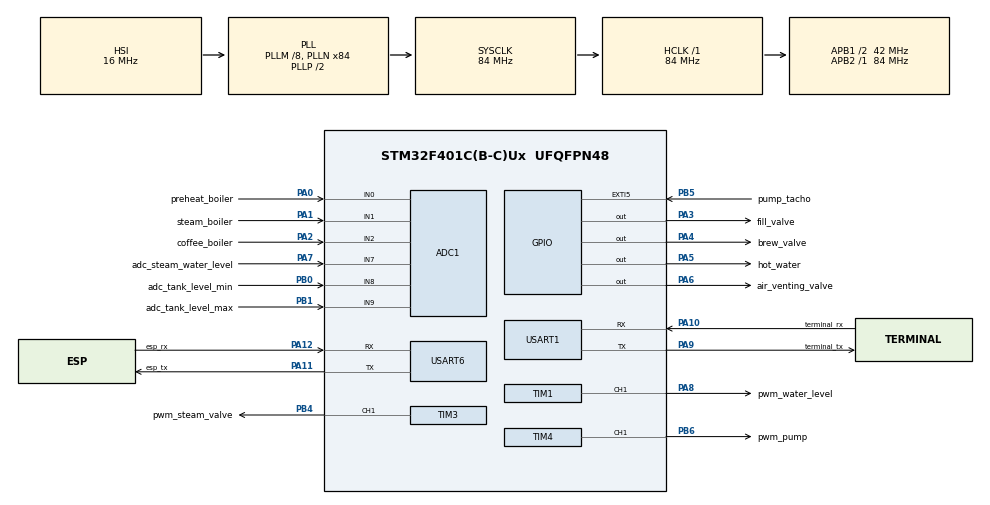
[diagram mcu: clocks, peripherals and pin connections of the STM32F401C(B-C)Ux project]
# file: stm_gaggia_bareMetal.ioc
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ADC1.Channel-0\#ChannelRegularConversion=ADC_CHANNEL_0
ADC1.Channel-1\#ChannelRegularConversion=ADC_CHANNEL_1
ADC1.Channel-2\#ChannelRegularConversion=ADC_CHANNEL_2
ADC1.Channel-3\#ChannelRegularConversion=ADC_CHANNEL_7
ADC1.Channel-4\#ChannelRegularConversion=ADC_CHANNEL_8
ADC1.Channel-5\#ChannelRegularConversion=ADC_CHANNEL_9
ADC1.ContinuousConvMode=ENABLE
ADC1.DMAContinuousRequests=ENABLE
ADC1.DiscontinuousConvMode=DISABLE
ADC1.ExternalTrigConv=ADC_SOFTWARE_START
ADC1.NbrOfConversion=6
ADC1.NbrOfConversionFlag=1
ADC1.Rank-0\#ChannelRegularConversion=1
ADC1.Rank-1\#ChannelRegularConversion=2
ADC1.Rank-2\#ChannelRegularConversion=3
ADC1.Rank-3\#ChannelRegularConversion=4
ADC1.Rank-4\#ChannelRegularConversion=5
ADC1.Rank-5\#ChannelRegularConversion=6
ADC1.SamplingTime-0\#ChannelRegularConversion=ADC_SAMPLETIME_480CYCLES
ADC1.SamplingTime-1\#ChannelRegularConversion=ADC_SAMPLETIME_480CYCLES
ADC1.SamplingTime-2\#ChannelRegularConversion=ADC_SAMPLETIME_3CYCLES
ADC1.SamplingTime-3\#ChannelRegularConversion=ADC_SAMPLETIME_480CYCLES
ADC1.SamplingTime-4\#ChannelRegularConversion=ADC_SAMPLETIME_480CYCLES
ADC1.SamplingTime-5\#ChannelRegularConversion=ADC_SAMPLETIME_480CYCLES
ADC1.ScanConvMode=ENABLE
ADC1.master=1
Dma.ADC1.0.Direction=DMA_PERIPH_TO_MEMORY
Dma.ADC1.0.FIFOMode=DMA_FIFOMODE_DISABLE
Dma.ADC1.0.Instance=DMA2_Stream0
Dma.ADC1.0.MemDataAlignment=DMA_MDATAALIGN_HALFWORD
Dma.ADC1.0.MemInc=DMA_MINC_ENABLE
Dma.ADC1.0.Mode=DMA_CIRCULAR
Dma.ADC1.0.PeriphDataAlignment=DMA_PDATAALIGN_HALFWORD
Dma.ADC1.0.PeriphInc=DMA_PINC_DISABLE
Dma.ADC1.0.Priority=DMA_PRIORITY_LOW
Dma.Request0=ADC1
Dma.Request1=USART6_TX
Dma.USART6_TX.1.Direction=DMA_MEMORY_TO_PERIPH
Dma.USART6_TX.1.FIFOMode=DMA_FIFOMODE_DISABLE
Dma.USART6_TX.1.Instance=DMA2_Stream6
Dma.USART6_TX.1.MemDataAlignment=DMA_MDATAALIGN_BYTE
Dma.USART6_TX.1.MemInc=DMA_MINC_ENABLE
Dma.USART6_TX.1.Mode=DMA_NORMAL
Dma.USART6_TX.1.PeriphDataAlignment=DMA_PDATAALIGN_BYTE
Dma.USART6_TX.1.PeriphInc=DMA_PINC_DISABLE
Dma.USART6_TX.1.Priority=DMA_PRIORITY_LOW
Mcu.Family=STM32F4
Mcu.Name=STM32F401C(B-C)Ux
Mcu.Package=UFQFPN48
NVIC.DMA2_Stream0_IRQn=true\:0\:0\:false\:false\:true\:false\:true\:true
NVIC.DMA2_Stream6_IRQn=true\:0\:0\:false\:false\:true\:false\:true\:true
NVIC.EXTI9_5_IRQn=true\:0\:0\:false\:false\:true\:true\:true\:true
NVIC.PriorityGroup=NVIC_PRIORITYGROUP_4
NVIC.USART6_IRQn=true\:0\:0\:false\:false\:true\:true\:true\:true
PA0-WKUP.GPIO_Label=preheat_boiler
PA0-WKUP.Signal=ADCx_IN0
PA1.GPIO_Label=steam_boiler
PA1.Signal=ADCx_IN1
PA10.GPIO_Label=terminal_rx
PA10.Mode=Asynchronous
PA10.Signal=USART1_RX
PA11.GPIO_Label=esp_tx
PA11.Mode=Asynchronous
PA11.Signal=USART6_TX
PA12.GPIO_Label=esp_rx
PA12.Mode=Asynchronous
PA12.Signal=USART6_RX
PA2.GPIO_Label=coffee_boiler
PA2.Signal=ADCx_IN2
PA3.GPIO_Label=fill_valve
PA3.GPIO_Speed=GPIO_SPEED_FREQ_LOW
PA3.PinState=GPIO_PIN_RESET
PA3.Signal=GPIO_Output
PA4.GPIO_Label=brew_valve
PA4.GPIO_Speed=GPIO_SPEED_FREQ_LOW
PA4.PinState=GPIO_PIN_RESET
PA4.Signal=GPIO_Output
PA5.GPIO_Label=hot_water
PA5.GPIO_Speed=GPIO_SPEED_FREQ_LOW
PA5.PinState=GPIO_PIN_RESET
PA5.Signal=GPIO_Output
PA6.GPIO_Label=air_venting_valve
PA6.Signal=GPIO_Output
PA7.GPIO_Label=adc_steam_water_level
PA7.Signal=ADCx_IN7
PA8.GPIO_Label=pwm_water_level
PA8.Signal=S_TIM1_CH1
PA9.GPIO_Label=terminal_tx
PA9.Mode=Asynchronous
PA9.Signal=USART1_TX
PB0.GPIO_Label=adc_tank_level_min
PB0.Signal=ADCx_IN8
PB1.GPIO_Label=adc_tank_level_max
PB1.Signal=ADCx_IN9
PB4.GPIO_Label=pwm_steam_valve
PB4.Signal=S_TIM3_CH1
PB5.GPIO_Label=pump_tacho
PB5.Signal=GPXTI5
PB6.GPIO_Label=pwm_pump
PB6.GPIO_Speed=GPIO_SPEED_FREQ_MEDIUM
PB6.Signal=S_TIM4_CH1
PC14-OSC32_IN.Mode=LSE-External-Oscillator
PC14-OSC32_IN.Signal=RCC_OSC32_IN
PC15-OSC32_OUT.Mode=LSE-External-Oscillator
PC15-OSC32_OUT.Signal=RCC_OSC32_OUT
PH0\ -\ OSC_IN.Mode=HSE-External-Oscillator
PH0\ -\ OSC_IN.Signal=RCC_OSC_IN
PH1\ -\ OSC_OUT.Mode=HSE-External-Oscillator
PH1\ -\ OSC_OUT.Signal=RCC_OSC_OUT
ProjectManager.HeapSize=0x800
ProjectManager.StackSize=0x1000
ProjectManager.TargetToolchain=CMake
RCC.48MHZClocksFreq_Value=42000000
RCC.AHBFreq_Value=84000000
RCC.APB1CLKDivider=RCC_HCLK_DIV2
RCC.APB1Freq_Value=42000000
RCC.APB1TimFreq_Value=84000000
RCC.APB2Freq_Value=84000000
RCC.APB2TimFreq_Value=84000000
RCC.CortexFreq_Value=84000000
RCC.HCLKFreq_Value=84000000
RCC.HSE_VALUE=25000000
RCC.HSI_VALUE=16000000
RCC.PLLM=8
RCC.PLLN=84
RCC.SYSCLKFreq_VALUE=84000000
RCC.SYSCLKSource=RCC_SYSCLKSOURCE_PLLCLK
RCC.VCOOutputFreq_Value=168000000
SH.ADCx_IN0.0=ADC1_IN0,IN0
SH.ADCx_IN1.0=ADC1_IN1,IN1
SH.ADCx_IN2.0=ADC1_IN2,IN2
SH.ADCx_IN7.0=ADC1_IN7,IN7
SH.ADCx_IN8.0=ADC1_IN8,IN8
SH.ADCx_IN9.0=ADC1_IN9,IN9
SH.S_TIM1_CH1.0=TIM1_CH1,PWM Generation1 CH1
SH.S_TIM3_CH1.0=TIM3_CH1,PWM Generation1 CH1
SH.S_TIM4_CH1.0=TIM4_CH1,PWM Generation1 CH1
TIM1.Channel-PWM\ Generation1\ CH1=TIM_CHANNEL_1
TIM1.Period=499
TIM1.Prescaler=83
TIM1.Pulse-PWM\ Generation1\ CH1=250
TIM3.Channel-PWM\ Generation1\ CH1=TIM_CHANNEL_1
TIM3.Period=999
TIM3.Prescaler=119
TIM4.Channel-PWM\ Generation1\ CH1=TIM_CHANNEL_1
TIM4.Period=4199
USART1.VirtualMode=VM_ASYNC
USART6.VirtualMode=VM_ASYNC
VP_TIM1_VS_ClockSourceINT.Mode=Internal
VP_TIM3_VS_ClockSourceINT.Mode=Internal
VP_TIM4_VS_ClockSourceINT.Mode=Internal
board=custom

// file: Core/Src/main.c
/* USER CODE BEGIN Header */
/**
 ******************************************************************************
 * @file           : main.c
 * @brief          : Main program body
 ******************************************************************************
 * @attention
 *
 * Copyright (c) 2026 STMicroelectronics.
 * All rights reserved.
 *
 * This software is licensed under terms that can be found in the LICENSE file
 * in the root directory of this software component.
 * If no LICENSE file comes with this software, it is provided AS-IS.
 *
 ******************************************************************************
 */
/* USER CODE END Header */
#include "main.h"
#include "adc.h"
#include "dma.h"
#include "tim.h"
#include "usart.h"
#include "gpio.h"

/* USER CODE BEGIN Includes */
#include "ntc_sensor.h"
#include "adc_dma.h"
#include "log.h"
#include "valves.h"
#include "water_level_steam.h"
#include "bldc_pump.h"
#include "steam_pwm_valve.h"
#include "water_level_tank.h"
#include "system_snapshot.h"
#include "protocol.h"
#include "esp_link.h"
/* USER CODE END Includes */

/* USER CODE BEGIN PD */
#define NTC_10K_INIT {.sh_a = 1.042752e-03f, .sh_b = 2.513051e-04f, .sh_c = -4.180126e-09f, .r_pull = 1500.0f}
// #define TEST_PUMP
// #define TEST_PWM_VALVE
uint32_t count_error = 0;
uint32_t count_busy = 0;
uint32_t count_ok = 0;
uint32_t count_timout = 0;
/* USER CODE END PD */

/* USER CODE BEGIN PV */
ntc_sensor_t ntc_preheat_sensor = NTC_10K_INIT;
ntc_sensor_t ntc_steam_sensor = NTC_10K_INIT;
ntc_sensor_t ntc_coffee_sensor = NTC_10K_INIT;

bldc_pump_t pump;
steam_pwm_valve_t steam_pwm_valve;
water_level_tank_t tank_level_probe;
water_probe_level_t steam_probe;
system_snapshot_t snapshot;

/* USER CODE END PV */

void SystemClock_Config(void);

int main(void)
{

  /* MCU Configuration--------------------------------------------------------*/

  /* Reset of all peripherals, Initializes the Flash interface and the Systick. */
  HAL_Init();

  /* Configure the system clock */
  SystemClock_Config();

  /* Initialize all configured peripherals */
  MX_GPIO_Init();
  MX_DMA_Init();
  MX_ADC1_Init();
  MX_USART1_UART_Init();
  MX_TIM1_Init();
  MX_TIM4_Init();
  MX_TIM3_Init();
  MX_USART6_UART_Init();
  /* USER CODE BEGIN 2 */
  HAL_StatusTypeDef DMA_Status = adc_dma_init(&hadc1);
  if (DMA_Status != HAL_OK)
  {
    // Handle error
    Error_Handler();
  }
  HAL_StatusTypeDef UART6_Status = init_esp_link(&huart6);
  if (UART6_Status != HAL_OK)
  {
    Error_Handler();
  }

  valve_init();

  pump_init(&pump, &htim4, TIM_CHANNEL_1, pump_tacho_Pin);
  log_init(&huart1);
  init_ntc_sensor(&ntc_preheat_sensor, adc_dma_get_raw(ntc_preheat));
  init_ntc_sensor(&ntc_steam_sensor, adc_dma_get_raw(ntc_steam));
  init_ntc_sensor(&ntc_coffee_sensor, adc_dma_get_raw(ntc_coffee));
  init_water_level(&steam_probe, &htim1, TIM_CHANNEL_1);
  init_steam_pwm_valve(&steam_pwm_valve, &htim3, TIM_CHANNEL_1);
  init_water_level_tank(&tank_level_probe);

  /* USER CODE END 2 */

  /* Infinite loop */
  /* USER CODE BEGIN WHILE */
  while (1)
  {

    update_pump_tacho(&pump);
    steam_pwm_valve_update(&steam_pwm_valve);

    uint32_t current_time = HAL_GetTick();
    static uint32_t last_time = 0;
    if (current_time - last_time >= 100)
    {
      get_temperature(&ntc_coffee_sensor, adc_dma_get_raw(ntc_coffee));
      get_temperature(&ntc_steam_sensor, adc_dma_get_raw(ntc_steam));
      get_temperature(&ntc_preheat_sensor, adc_dma_get_raw(ntc_preheat));
      water_probe_update(&steam_probe, adc_dma_get_amplitude(water_level_steam));
      water_tank_level_tank_update(&tank_level_probe, adc_dma_get_amplitude(water_level_tank_min), adc_dma_get_amplitude(water_level_tank_max));
      snapshot_update(&snapshot, &ntc_coffee_sensor, &ntc_steam_sensor, &ntc_preheat_sensor, &pump, &steam_pwm_valve, &tank_level_probe, &steam_probe);

      switch (esp_link_send_telemetry(&snapshot))
      {
      case HAL_ERROR:
        count_error++;
        break;
      case HAL_BUSY:
        count_busy++;
        break;
      case HAL_OK:
        count_ok++;
        break;
      case HAL_TIMEOUT:
        count_timout++;
        break;
      default:
        break;
      }
      last_time = current_time;
    }
    /* USER CODE END WHILE */

  }
}

void SystemClock_Config(void)
{
  RCC_OscInitTypeDef RCC_OscInitStruct = {0};
  RCC_ClkInitTypeDef RCC_ClkInitStruct = {0};

  /** Configure the main internal regulator output voltage
  */
  __HAL_RCC_PWR_CLK_ENABLE();
  __HAL_PWR_VOLTAGESCALING_CONFIG(PWR_REGULATOR_VOLTAGE_SCALE2);

  /** Initializes the RCC Oscillators according to the specified parameters
  * in the RCC_OscInitTypeDef structure.
  */
  RCC_OscInitStruct.OscillatorType = RCC_OSCILLATORTYPE_HSI;
  RCC_OscInitStruct.HSIState = RCC_HSI_ON;
  RCC_OscInitStruct.HSICalibrationValue = RCC_HSICALIBRATION_DEFAULT;
  RCC_OscInitStruct.PLL.PLLState = RCC_PLL_ON;
  RCC_OscInitStruct.PLL.PLLSource = RCC_PLLSOURCE_HSI;
  RCC_OscInitStruct.PLL.PLLM = 8;
  RCC_OscInitStruct.PLL.PLLN = 84;
  RCC_OscInitStruct.PLL.PLLP = RCC_PLLP_DIV2;
  RCC_OscInitStruct.PLL.PLLQ = 4;
  if (HAL_RCC_OscConfig(&RCC_OscInitStruct) != HAL_OK)
  {
    Error_Handler();
  }

  /** Initializes the CPU, AHB and APB buses clocks
  */
  RCC_ClkInitStruct.ClockType = RCC_CLOCKTYPE_HCLK|RCC_CLOCKTYPE_SYSCLK
                              |RCC_CLOCKTYPE_PCLK1|RCC_CLOCKTYPE_PCLK2;
  RCC_ClkInitStruct.SYSCLKSource = RCC_SYSCLKSOURCE_PLLCLK;
  RCC_ClkInitStruct.AHBCLKDivider = RCC_SYSCLK_DIV1;
  RCC_ClkInitStruct.APB1CLKDivider = RCC_HCLK_DIV2;
  RCC_ClkInitStruct.APB2CLKDivider = RCC_HCLK_DIV1;

  if (HAL_RCC_ClockConfig(&RCC_ClkInitStruct, FLASH_LATENCY_2) != HAL_OK)
  {
    Error_Handler();
  }
}

/* USER CODE BEGIN 4 */
void HAL_GPIO_EXTI_Callback(uint16_t GPIO_Pin)
{
  pump.impulse_tacho++;
}
/* USER CODE END 4 */

void Error_Handler(void)
{
  /* USER CODE BEGIN Error_Handler_Debug */
  valve_closed_all();
  pump_stop(&pump);
  steam_pwm_valve_stop(&steam_pwm_valve);
  /* User can add his own implementation to report the HAL error return state */
  __disable_irq();
  while (1)
  {
  }
  /* USER CODE END Error_Handler_Debug */
}
